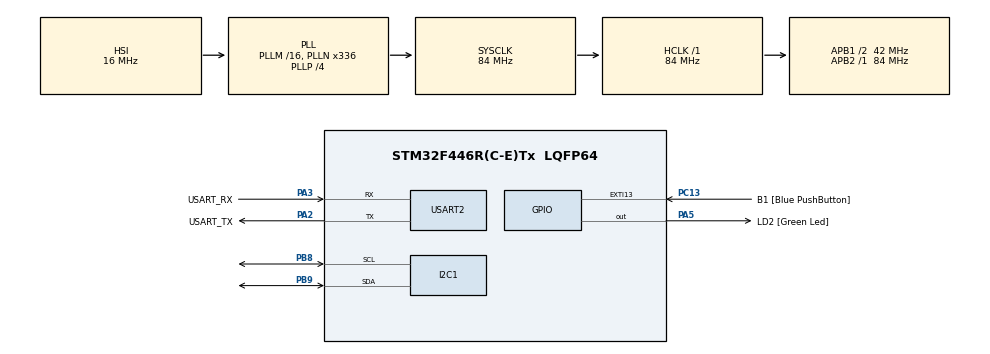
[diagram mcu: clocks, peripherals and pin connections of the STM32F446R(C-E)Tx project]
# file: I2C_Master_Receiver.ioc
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Dma.I2C1_TX.0.Direction=DMA_MEMORY_TO_PERIPH
Dma.I2C1_TX.0.FIFOMode=DMA_FIFOMODE_DISABLE
Dma.I2C1_TX.0.Instance=DMA1_Stream6
Dma.I2C1_TX.0.MemDataAlignment=DMA_MDATAALIGN_BYTE
Dma.I2C1_TX.0.MemInc=DMA_MINC_ENABLE
Dma.I2C1_TX.0.Mode=DMA_NORMAL
Dma.I2C1_TX.0.PeriphDataAlignment=DMA_PDATAALIGN_BYTE
Dma.I2C1_TX.0.PeriphInc=DMA_PINC_DISABLE
Dma.I2C1_TX.0.Priority=DMA_PRIORITY_LOW
Dma.Request0=I2C1_TX
Mcu.Family=STM32F4
Mcu.Name=STM32F446R(C-E)Tx
Mcu.Package=LQFP64
NVIC.DMA1_Stream6_IRQn=true\:0\:0\:false\:false\:true\:false\:true\:true
NVIC.I2C1_ER_IRQn=true\:0\:0\:false\:false\:true\:true\:true\:true
NVIC.I2C1_EV_IRQn=true\:0\:0\:false\:false\:true\:true\:true\:true
NVIC.PriorityGroup=NVIC_PRIORITYGROUP_0
PA13.GPIO_Label=TMS
PA13.Mode=Serial_Wire
PA13.Signal=SYS_JTMS-SWDIO
PA14.GPIO_Label=TCK
PA14.Mode=Serial_Wire
PA14.Signal=SYS_JTCK-SWCLK
PA2.GPIO_Label=USART_TX
PA2.Mode=Asynchronous
PA2.Signal=USART2_TX
PA3.GPIO_Label=USART_RX
PA3.Mode=Asynchronous
PA3.Signal=USART2_RX
PA5.GPIO_Label=LD2 [Green Led]
PA5.Signal=GPIO_Output
PB3.GPIO_Label=SWO
PB3.Signal=SYS_JTDO-SWO
PB8.Mode=I2C
PB8.Signal=I2C1_SCL
PB9.Mode=I2C
PB9.Signal=I2C1_SDA
PC13.GPIO_Label=B1 [Blue PushButton]
PC13.GPIO_ModeDefaultEXTI=GPIO_MODE_IT_FALLING
PC13.Signal=GPXTI13
PC14-OSC32_IN.Mode=LSE-External-Oscillator
PC14-OSC32_IN.Signal=RCC_OSC32_IN
PC15-OSC32_OUT.Mode=LSE-External-Oscillator
PC15-OSC32_OUT.Signal=RCC_OSC32_OUT
PH0-OSC_IN.Mode=HSE-External-Oscillator
PH0-OSC_IN.Signal=RCC_OSC_IN
PH1-OSC_OUT.Mode=HSE-External-Oscillator
PH1-OSC_OUT.Signal=RCC_OSC_OUT
ProjectManager.HeapSize=0x200
ProjectManager.StackSize=0x400
ProjectManager.TargetToolchain=STM32CubeIDE
RCC.48MHZClocksFreq_Value=84000000
RCC.AHBFreq_Value=84000000
RCC.APB1CLKDivider=RCC_HCLK_DIV2
RCC.APB1Freq_Value=42000000
RCC.APB1TimFreq_Value=84000000
RCC.APB2Freq_Value=84000000
RCC.APB2TimFreq_Value=84000000
RCC.CortexFreq_Value=84000000
RCC.FLatency-AdvancedSettings=FLASH_LATENCY_2
RCC.HCLKFreq_Value=84000000
RCC.HSE_VALUE=8000000
RCC.HSI_VALUE=16000000
RCC.PLLN=336
RCC.PLLP=RCC_PLLP_DIV4
RCC.SYSCLKFreq_VALUE=84000000
RCC.SYSCLKSource=RCC_SYSCLKSOURCE_PLLCLK
RCC.USBFreq_Value=168000000
RCC.VCOOutputFreq_Value=336000000
USART2.VirtualMode=VM_ASYNC
board=NUCLEO-F446RE

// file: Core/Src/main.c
/* USER CODE BEGIN Header */
/**
  ******************************************************************************
  * @file           : main.c
  * @brief          : Main program body
  ******************************************************************************
  * @attention
  *
  * Copyright (c) 2025 STMicroelectronics.
  * All rights reserved.
  *
  * This software is licensed under terms that can be found in the LICENSE file
  * in the root directory of this software component.
  * If no LICENSE file comes with this software, it is provided AS-IS.
  *
  ******************************************************************************
  */
/* USER CODE END Header */
#include "main.h"

/* USER CODE BEGIN Includes */
#include <string.h>
#include <stdio.h>
/* USER CODE END Includes */

I2C_HandleTypeDef hi2c1;
DMA_HandleTypeDef hdma_i2c1_tx;

UART_HandleTypeDef huart2;

/* USER CODE BEGIN PV */
uint8_t txData = 'A';
uint8_t rxConfirm;
/* USER CODE END PV */

void SystemClock_Config(void);
static void MX_GPIO_Init(void);
static void MX_DMA_Init(void);
static void MX_USART2_UART_Init(void);
static void MX_I2C1_Init(void);

int main(void)
{

  /* MCU Configuration--------------------------------------------------------*/

  /* Reset of all peripherals, Initializes the Flash interface and the Systick. */
  HAL_Init();

  /* Configure the system clock */
  SystemClock_Config();

  /* Initialize all configured peripherals */
  MX_GPIO_Init();
  MX_DMA_Init();
  MX_USART2_UART_Init();
  MX_I2C1_Init();
  /* USER CODE BEGIN 2 */
  HAL_Delay(1000);
  /* USER CODE END 2 */

  /* Infinite loop */
  /* USER CODE BEGIN WHILE */
  while (1)
  {
	  HAL_StatusTypeDef status;

	      status = HAL_I2C_Master_Transmit(&hi2c1, (0x64 << 1), &txData, 1, HAL_MAX_DELAY);
	      if (status == HAL_OK)
	      {
	        const char *msg = "[Master] Sent A\r\n";
	        HAL_UART_Transmit(&huart2, (uint8_t*)msg, strlen(msg), HAL_MAX_DELAY);
	      }

	      HAL_Delay(500);

	      status = HAL_I2C_Master_Receive(&hi2c1, (0x64 << 1), &rxConfirm, 1, HAL_MAX_DELAY);
	      if (status == HAL_OK)
	      {
	        char msg[64];
	        snprintf(msg, sizeof(msg), "[Master] Slave replied: %c\r\n", rxConfirm);
	        HAL_UART_Transmit(&huart2, (uint8_t*)msg, strlen(msg), HAL_MAX_DELAY);
	      }

	      HAL_Delay(2000);
    /* USER CODE END WHILE */

  }
}

void SystemClock_Config(void)
{
  RCC_OscInitTypeDef RCC_OscInitStruct = {0};
  RCC_ClkInitTypeDef RCC_ClkInitStruct = {0};

  /** Configure the main internal regulator output voltage
  */
  __HAL_RCC_PWR_CLK_ENABLE();
  __HAL_PWR_VOLTAGESCALING_CONFIG(PWR_REGULATOR_VOLTAGE_SCALE3);

  /** Initializes the RCC Oscillators according to the specified parameters
  * in the RCC_OscInitTypeDef structure.
  */
  RCC_OscInitStruct.OscillatorType = RCC_OSCILLATORTYPE_HSI;
  RCC_OscInitStruct.HSIState = RCC_HSI_ON;
  RCC_OscInitStruct.HSICalibrationValue = RCC_HSICALIBRATION_DEFAULT;
  RCC_OscInitStruct.PLL.PLLState = RCC_PLL_ON;
  RCC_OscInitStruct.PLL.PLLSource = RCC_PLLSOURCE_HSI;
  RCC_OscInitStruct.PLL.PLLM = 16;
  RCC_OscInitStruct.PLL.PLLN = 336;
  RCC_OscInitStruct.PLL.PLLP = RCC_PLLP_DIV4;
  RCC_OscInitStruct.PLL.PLLQ = 2;
  RCC_OscInitStruct.PLL.PLLR = 2;
  if (HAL_RCC_OscConfig(&RCC_OscInitStruct) != HAL_OK)
  {
    Error_Handler();
  }

  /** Initializes the CPU, AHB and APB buses clocks
  */
  RCC_ClkInitStruct.ClockType = RCC_CLOCKTYPE_HCLK|RCC_CLOCKTYPE_SYSCLK
                              |RCC_CLOCKTYPE_PCLK1|RCC_CLOCKTYPE_PCLK2;
  RCC_ClkInitStruct.SYSCLKSource = RCC_SYSCLKSOURCE_PLLCLK;
  RCC_ClkInitStruct.AHBCLKDivider = RCC_SYSCLK_DIV1;
  RCC_ClkInitStruct.APB1CLKDivider = RCC_HCLK_DIV2;
  RCC_ClkInitStruct.APB2CLKDivider = RCC_HCLK_DIV1;

  if (HAL_RCC_ClockConfig(&RCC_ClkInitStruct, FLASH_LATENCY_2) != HAL_OK)
  {
    Error_Handler();
  }
}

static void MX_I2C1_Init(void)
{

  hi2c1.Instance = I2C1;
  hi2c1.Init.ClockSpeed = 100000;
  hi2c1.Init.DutyCycle = I2C_DUTYCYCLE_2;
  hi2c1.Init.OwnAddress1 = 0;
  hi2c1.Init.AddressingMode = I2C_ADDRESSINGMODE_7BIT;
  hi2c1.Init.DualAddressMode = I2C_DUALADDRESS_DISABLE;
  hi2c1.Init.OwnAddress2 = 0;
  hi2c1.Init.GeneralCallMode = I2C_GENERALCALL_DISABLE;
  hi2c1.Init.NoStretchMode = I2C_NOSTRETCH_DISABLE;
  if (HAL_I2C_Init(&hi2c1) != HAL_OK)
  {
    Error_Handler();
  }

}

static void MX_USART2_UART_Init(void)
{

  huart2.Instance = USART2;
  huart2.Init.BaudRate = 115200;
  huart2.Init.WordLength = UART_WORDLENGTH_8B;
  huart2.Init.StopBits = UART_STOPBITS_1;
  huart2.Init.Parity = UART_PARITY_NONE;
  huart2.Init.Mode = UART_MODE_TX_RX;
  huart2.Init.HwFlowCtl = UART_HWCONTROL_NONE;
  huart2.Init.OverSampling = UART_OVERSAMPLING_16;
  if (HAL_UART_Init(&huart2) != HAL_OK)
  {
    Error_Handler();
  }

}

static void MX_DMA_Init(void)
{

  /* DMA controller clock enable */
  __HAL_RCC_DMA1_CLK_ENABLE();

  /* DMA interrupt init */
  /* DMA1_Stream6_IRQn interrupt configuration */
  HAL_NVIC_SetPriority(DMA1_Stream6_IRQn, 0, 0);
  HAL_NVIC_EnableIRQ(DMA1_Stream6_IRQn);

}

static void MX_GPIO_Init(void)
{
  GPIO_InitTypeDef GPIO_InitStruct = {0};

  /* GPIO Ports Clock Enable */
  __HAL_RCC_GPIOC_CLK_ENABLE();
  __HAL_RCC_GPIOH_CLK_ENABLE();
  __HAL_RCC_GPIOA_CLK_ENABLE();
  __HAL_RCC_GPIOB_CLK_ENABLE();

  /*Configure GPIO pin Output Level */
  HAL_GPIO_WritePin(LD2_GPIO_Port, LD2_Pin, GPIO_PIN_RESET);

  /*Configure GPIO pin : B1_Pin */
  GPIO_InitStruct.Pin = B1_Pin;
  GPIO_InitStruct.Mode = GPIO_MODE_IT_FALLING;
  GPIO_InitStruct.Pull = GPIO_NOPULL;
  HAL_GPIO_Init(B1_GPIO_Port, &GPIO_InitStruct);

  /*Configure GPIO pin : LD2_Pin */
  GPIO_InitStruct.Pin = LD2_Pin;
  GPIO_InitStruct.Mode = GPIO_MODE_OUTPUT_PP;
  GPIO_InitStruct.Pull = GPIO_NOPULL;
  GPIO_InitStruct.Speed = GPIO_SPEED_FREQ_LOW;
  HAL_GPIO_Init(LD2_GPIO_Port, &GPIO_InitStruct);

}

void Error_Handler(void)
{
  __disable_irq();
  while (1)
  {
  }
}
